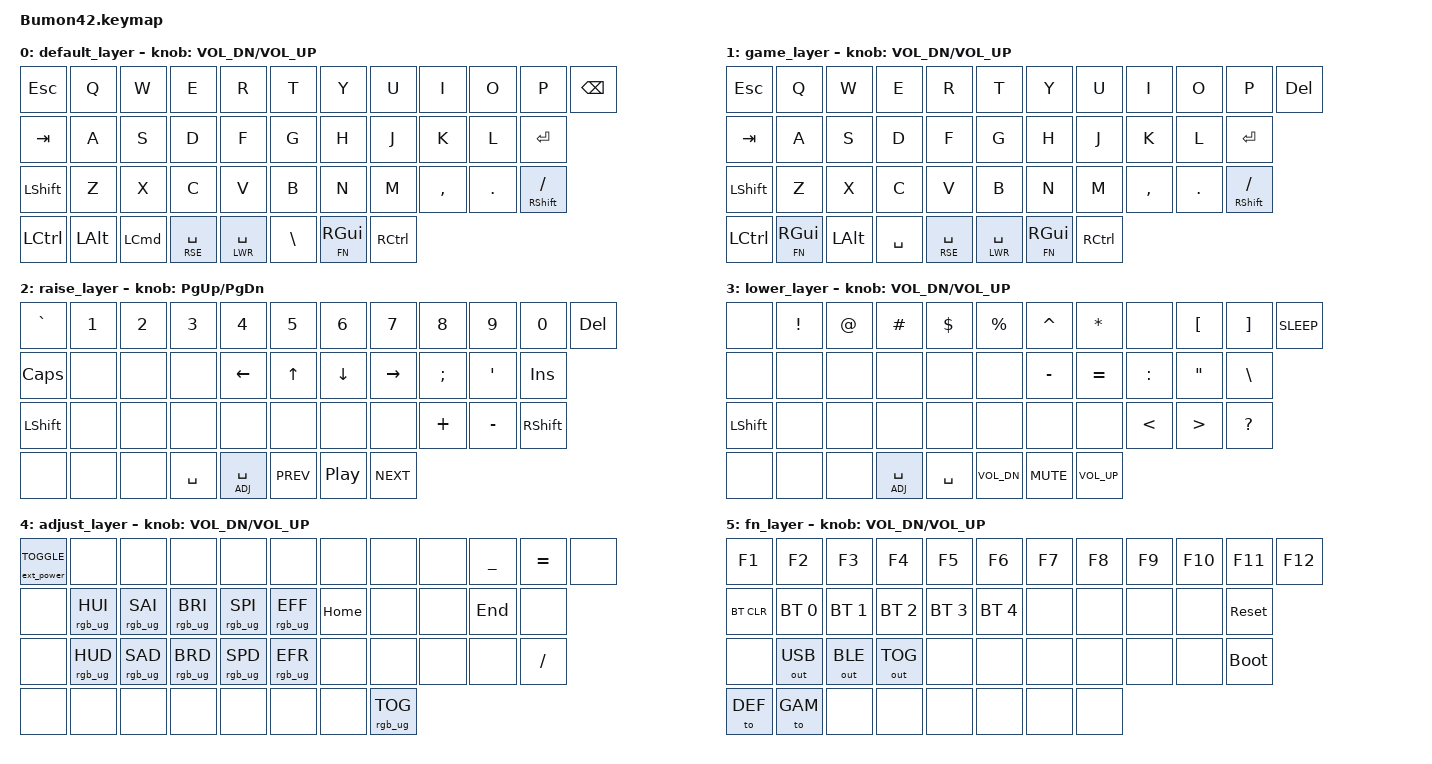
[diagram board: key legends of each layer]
#include <behaviors.dtsi>
#include <dt-bindings/zmk/bt.h>
#include <dt-bindings/zmk/ext_power.h>
#include <dt-bindings/zmk/keys.h>
#include <dt-bindings/zmk/outputs.h>
#include <dt-bindings/zmk/rgb.h>

// changed lwr and rse

#define DEF 0
#define GAM 1
#define RSE 2
#define LWR 3
#define ADJ 4
#define FN  5

/ {
    keymap {
        compatible = "zmk,keymap";

        default_layer {
            bindings = <
&kp ESC    &kp Q     &kp W             &kp E          &kp R          &kp T     &kp Y        &kp U      &kp I      &kp O    &kp P             &kp BSPC
&kp TAB    &kp A     &kp S             &kp D          &kp F          &kp G     &kp H        &kp J      &kp K      &kp L    &kp ENTER
&kp LSHFT  &kp Z     &kp X             &kp C          &kp V          &kp B     &kp N        &kp M      &kp COMMA  &kp DOT  &mt RSHIFT SLASH
&kp LCTRL  &kp LALT  &kp LEFT_COMMAND  &lt RSE SPACE  &lt LWR SPACE  &kp BSLH  &lt FN RGUI  &kp RCTRL
            >;

            sensor-bindings = <&inc_dec_kp C_VOL_DN C_VOL_UP>;
        };

        game_layer {
            bindings = <
&kp ESC    &kp Q        &kp W     &kp E      &kp R          &kp T          &kp Y        &kp U      &kp I      &kp O    &kp P             &kp DEL
&kp TAB    &kp A        &kp S     &kp D      &kp F          &kp G          &kp H        &kp J      &kp K      &kp L    &kp ENTER
&kp LSHFT  &kp Z        &kp X     &kp C      &kp V          &kp B          &kp N        &kp M      &kp COMMA  &kp DOT  &mt RSHIFT SLASH
&kp LCTRL  &lt FN RGUI  &kp LALT  &kp SPACE  &lt RSE SPACE  &lt LWR SPACE  &lt FN RGUI  &kp RCTRL
            >;

            sensor-bindings = <&inc_dec_kp C_VOL_DN C_VOL_UP>;
        };

        raise_layer {
            bindings = <
&kp GRAVE  &kp N1  &kp N2  &kp N3     &kp N4          &kp N5        &kp N6          &kp N7           &kp N8    &kp N9     &kp N0     &kp DEL
&kp CAPS   &none   &none   &none      &kp LEFT_ARROW  &kp UP_ARROW  &kp DOWN_ARROW  &kp RIGHT_ARROW  &kp SEMI  &kp APOS   &kp INS
&kp LSHFT  &none   &none   &none      &none           &none         &none           &none            &kp PLUS  &kp MINUS  &kp RSHFT
&none      &none   &none   &kp SPACE  &lt ADJ SPACE   &kp C_PREV    &kp C_PP        &kp C_NEXT
            >;

            sensor-bindings = <&inc_dec_kp PG_UP PG_DN>;
        };

        lower_layer {
            bindings = <
&none      &kp EXCLAMATION  &kp AT_SIGN  &kp HASH       &kp DOLLAR  &kp PRCNT     &kp CARET   &kp ASTRK     &none      &kp LBKT           &kp RBKT   &kp C_SLEEP
&none      &none            &none        &none          &none       &none         &kp MINUS   &kp EQUAL     &kp COLON  &kp DOUBLE_QUOTES  &kp BSLH
&kp LSHFT  &none            &none        &none          &none       &none         &none       &none         &kp LT     &kp GT             &kp QMARK
&none      &none            &none        &lt ADJ SPACE  &kp SPACE   &kp C_VOL_DN  &kp C_MUTE  &kp C_VOL_UP
            >;

            sensor-bindings = <&inc_dec_kp C_VOL_DN C_VOL_UP>;
        };

        adjust_layer {
            bindings = <
&ext_power EXT_POWER_TOGGLE_CMD  &none            &none            &none            &none            &none            &none     &none            &none  &kp UNDERSCORE  &kp EQUAL  &none
&none                            &rgb_ug RGB_HUI  &rgb_ug RGB_SAI  &rgb_ug RGB_BRI  &rgb_ug RGB_SPI  &rgb_ug RGB_EFF  &kp HOME  &none            &none  &kp END         &none
&none                            &rgb_ug RGB_HUD  &rgb_ug RGB_SAD  &rgb_ug RGB_BRD  &rgb_ug RGB_SPD  &rgb_ug RGB_EFR  &none     &none            &none  &none           &kp SLASH
&none                            &none            &none            &none            &none            &none            &none     &rgb_ug RGB_TOG
            >;

            sensor-bindings = <&inc_dec_kp C_VOL_DN C_VOL_UP>;
        };

        fn_layer {
            bindings = <
&kp F1      &kp F2        &kp F3        &kp F4        &kp F5        &kp F6        &kp F7  &kp F8  &kp F9  &kp F10  &kp F11      &kp F12
&bt BT_CLR  &bt BT_SEL 0  &bt BT_SEL 1  &bt BT_SEL 2  &bt BT_SEL 3  &bt BT_SEL 4  &none   &none   &none   &none    &sys_reset
&none       &out OUT_USB  &out OUT_BLE  &out OUT_TOG  &none         &none         &none   &none   &none   &none    &bootloader
&to DEF     &to GAM       &none         &none         &none         &none         &none   &none
            >;

            sensor-bindings = <&inc_dec_kp C_VOL_DN C_VOL_UP>;
        };
    };
};
